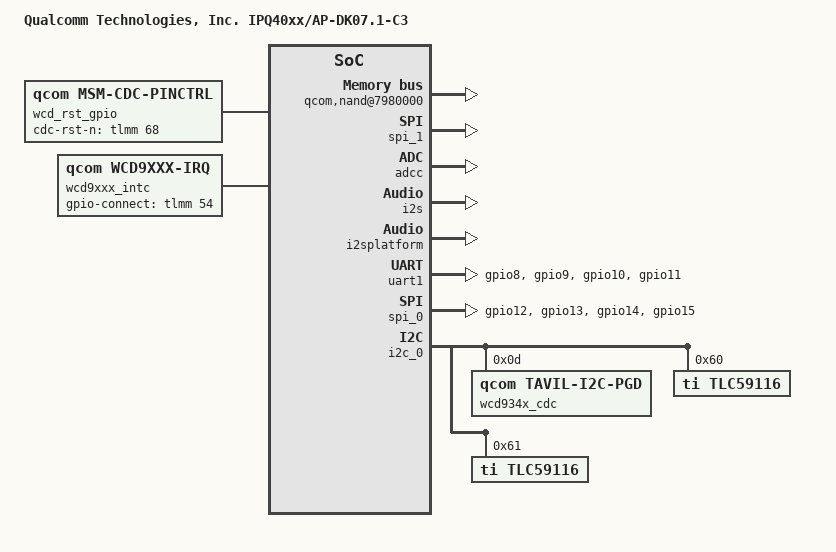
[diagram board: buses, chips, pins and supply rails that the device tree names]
/* Copyright (c) 2016-2017, The Linux Foundation. All rights reserved.
 *
 * Permission to use, copy, modify, and/or distribute this software for any
 * purpose with or without fee is hereby granted, provided that the above
 * copyright notice and this permission notice appear in all copies.
 *
 * THE SOFTWARE IS PROVIDED "AS IS" AND THE AUTHOR DISCLAIMS ALL WARRANTIES
 * WITH REGARD TO THIS SOFTWARE INCLUDING ALL IMPLIED WARRANTIES OF
 * MERCHANTABILITY AND FITNESS. IN NO EVENT SHALL THE AUTHOR BE LIABLE FOR
 * ANY SPECIAL, DIRECT, INDIRECT, OR CONSEQUENTIAL DAMAGES OR ANY DAMAGES
 * WHATSOEVER RESULTING FROM LOSS OF USE, DATA OR PROFITS, WHETHER IN AN
 * ACTION OF CONTRACT, NEGLIGENCE OR OTHER TORTIOUS ACTION, ARISING OUT OF
 * OR IN CONNECTION WITH THE USE OR PERFORMANCE OF THIS SOFTWARE.
 *
 */

#include "qcom-ipq40xx-ap.dk07.1.dtsi"
#include "qcom-ipq40xx-lcdc.dtsi"
#include "qcom-ipq40xx-lcdpanel.dtsi"
#include "qcom-ipq40xx-audio.dtsi"

/ {
	model = "Qualcomm Technologies, Inc. IPQ40xx/AP-DK07.1-C3";

	soc {
		qcom,nand@7980000 {
			status = "ok";
		};

		qcom,msm_qpic@7980000 {
			status = "ok";
		};

		qcom,mdss_lcd_qpic_panel {
			status = "ok";
		};

		serial@78b0000 {
			status = "disabled";
		};

		spi_1: spi@78b6000 { /* BLSP1 QUP2 */
			status = "ok";
		};

		pinctrl@0x01000000 {
			audio_gpio_pins: audio_gpio_pinmux {
				mux_1 {
					pins = "gpio25", "gpio26";
					function = "gpio";
					output-high;
				};
				mux_2 {
					pins = "gpio27";
					function = "gpio";
					output-high;
				};
			};
			audio_pins: audio_pinmux {
				mux_1 {
					pins = "gpio25", "gpio26";
					function = "audio0";
				};
				mux_2 {
					pins = "gpio27";
					function = "audio_td1";
				};
			};
			uart1_pins: uart1_pinmux {
				mux {
					pins = "gpio8", "gpio9", "gpio10", "gpio11";
					function = "blsp_uart1";
					bias-disable;
				};
			};

			spi_0_pins: spi_0_pinmux {
				mux {
					pins = "gpio12", "gpio13", "gpio14", "gpio15";
					function = "blsp_spi0";
					bias-disable;
				};
			};

			wifi_0_pins: wifi1_pinmux {
				mux_1 {
					pins = "gpio37";
					function="wcss0_dbg16";
					bias-pull-down;
					drive-cap = <DRV_CAP_QUARTER>;
				};
				mux_2 {
					pins = "gpio43";
					function="wifi_wci1";
					bias-pull-down;
					drive-cap = <DRV_CAP_QUARTER>;
				};
				mux_3 {
					pins = "gpio52";
					output-high;
					function="gpio";
					bias-pull-up;
					drive-cap = <DRV_CAP_QUARTER>;
				};
				mux_4 {
					pins = "gpio61";
					output-high;
					function="gpio";
					bias-pull-down;
				};
			};
			cdc_reset_sleep: cdc_reset_sleep {
				mux {
					pins = "gpio68";
					function = "gpio";
				};
				config {
					pins = "gpio68";
					drive-strength = <16>;
					bias-disable;
					output-low;
				};
			};
			cdc_reset_active: cdc_reset_active {
				mux {
					pins = "gpio68";
					function = "gpio";
				};
				config {
					pins = "gpio68";
					drive_strength = <16>;
					bias-pull-down;
					output-high;
				};
			};
			wcd_intr_default: wcd_intr_default{
				mux {
					pins = "gpio54";
					function = "gpio";
				};
				config {
					pins = "gpio54";
					drive-strength = <2>; /* 2 mA */
					bias-pull-down; /* pull down */
					input-enable;
				};
			};
			wcd_clk_pins: wcd_clk_pinmux {
				mux_1 {
					pins = "gpio24";
					function = "audio0";
				};
			};
		};

		adcc: clock-controller@7700038 {
			status = "ok";
		};

		/* Enable Audio Interfaces */
		i2s: ipq40xx-pcm-i2s@0 {
			ipq,txmclk-fixed = <1>;
			status = "ok";
		};

		i2splatform: qca-pcm-i2s@7709000 {
			status = "ok";
		};

		snd_934x: sound-tavil {
			status = "ok";
			ipq,i2s-no-of-periods = <10>;
			pinctrl-0 = <&audio_gpio_pins>;
			pinctrl-1 = <&audio_pins>;
			pinctrl-names = "default", "audio";
		};

		uart1:uart@78b0000 {
			pinctrl-0 = <&uart1_pins>;
			pinctrl-1 = <&uart1_pins>;
			pinctrl-names = "default", "sleep";
			status = "ok";
		};

		spi_0: spi@78b5000 { /* BLSP1 QUP1 */
			pinctrl-0 = <&spi_0_pins>;
			pinctrl-names = "default";
			status = "ok";
		};


		wifi0: wifi@a000000 {
			pinctrl-0 = <&wifi_0_pins>;
			pinctrl-names = "default";
			btcoex_support = <1>;
			wlan_prio_gpio = <52>;
			dual_band_switch_gpio = <61>;
		};

		wifi1: wifi@a800000 {
			btcoex_support = <0>;
		};

		glink_spi_xprt_wdsp: qcom,glink-spi-xprt-wdsp {
			compatible = "qcom,glink-spi-xprt";
			label = "wdsp";
			qcom,remote-fifo-config = <&glink_fifo_wdsp>;
			qcom,qos-config = <&glink_qos_wdsp>;
			qcom,ramp-time = <0x10>,
					<0x20>,
					<0x30>,
					<0x40>;
		};

		glink_fifo_wdsp: qcom,glink-fifo-config-wdsp {
			compatible = "qcom,glink-fifo-config";
			qcom,out-read-idx-reg = <0x12000>;
			qcom,out-write-idx-reg = <0x12004>;
			qcom,in-read-idx-reg = <0x1200C>;
			qcom,in-write-idx-reg = <0x12010>;
		};

		glink_qos_wdsp: qcom,glink-qos-config-wdsp {
			compatible = "qcom,glink-qos-config";
			qcom,flow-info = <0x80 0x0>,
					<0x70 0x1>,
					<0x60 0x2>,
					<0x50 0x3>;
			qcom,mtu-size = <0x800>;
			qcom,tput-stats-cycle = <0xa>;
		};

		qcom,wcd-dsp-mgr {
			compatible = "qcom,wcd-dsp-mgr";
			qcom,wdsp-components = <&wcd934x_cdc 0>,
						<&wcd_spi_0 1>,
						<&glink_spi_xprt_wdsp 2>;
			qcom,img-filename = "cpe_9340";
		};
		qocm,wcd-dsp-glink {
			compatible = "qcom,wcd-dsp-glink";
		};
		wcd_rst_gpio: msm_cdc_pinctrl@56 {
			compatible = "qcom,msm-cdc-pinctrl";
			qcom,cdc-rst-n-gpio = <&tlmm 68 0>;
			pinctrl-names = "aud_active", "aud_sleep";
			pinctrl-0 = <&cdc_reset_active>;
			pinctrl-1 = <&cdc_reset_sleep>;
		};

		wcd9xxx_intc: wcd9xxx-irq {
			status = "ok";
			compatible = "qcom,wcd9xxx-irq";
			interrupt-controller;
			#interrupt-cells = <1>;
			interrupt-parent = <&tlmm>;
			qcom,gpio-connect = <&tlmm 54 0>;
			pinctrl-names = "default";
			pinctrl-0 = <&wcd_intr_default>;
		};

		i2c_0: i2c@78b7000 { /* BLSP1 QUP2 */
			status = "ok";
			qcom,clk-freq-out = <400000>;
			wcd934x_cdc: tavil_codec@d {
				#address-cells = <1>;
				#size-cells = <0>;
				compatible = "qcom,tavil-i2c-pgd";
				reg = <0x0d>;
				status = "ok";
				qcom,wcd-rst-gpio-node = <&wcd_rst_gpio>;
				interrupt-parent = <&wcd9xxx_intc>;
				interrupts = <0 1 2 3 4 5 6 7 8 9 10 11 12 13 14 15 16
						17 18 19 20 21 22 23 24 25 26 27 28 29
						30>;

				clocks = <&adcc ADCC_TXM_CLK_SRC>;
				clock-names = "audio_tx_mclk";
				pinctrl-0 = <&wcd_clk_pins>;
				pinctrl-names = "default";

				qcom,cdc-micbias1-mv = <1800>;
				qcom,cdc-micbias2-mv = <1800>;
				qcom,cdc-micbias3-mv = <1800>;
				qcom,cdc-micbias4-mv = <1800>;

				qcom,cdc-mclk-clk-rate = <9600000>;
				qcom,cdc-dmic-sample-rate = <4800000>;
				qcom,cdc-mad-dmic-rate = <600001>;
				qcom,cdc-ecpp-dmic-rate = <1200000>;

				qcom,wdsp-cmpnt-dev-name = "tavil_codec";

				wcd: wcd_pinctrl@5 {
					compatible = "qcom,wcd-pinctrl";
					qcom,num-gpios = <5>;
					gpio-controller;
					#gpio-cells = <2>;

					spkr_1_wcd_en_active: spkr_1_wcd_en_active {
						mux {
							pins = "gpio2";
						};

						config {
							pins = "gpio2";
							output-high;
						};
					};

					spkr_1_wcd_en_sleep: spkr_1_wcd_en_sleep {
						mux {
							pins = "gpio2";
						};

						config {
							pins = "gpio2";
							input-enable;
						};
					};

					spkr_2_wcd_en_active: spkr_2_sd_n_active {
						mux {
							pins = "gpio3";
						};

						config {
							pins = "gpio3";
							output-high;
						};
					};

					spkr_2_wcd_en_sleep: spkr_2_sd_n_sleep {
						mux {
							pins = "gpio3";
						};

						config {
							pins = "gpio3";
							input-enable;
						};
					};
				};

				wsa_spkr_wcd_sd1: msm_cdc_pinctrll {
					compatible = "qcom,msm-cdc-pinctrl";
					pinctrl-names = "aud_active", "aud_sleep";
					pinctrl-0 = <&spkr_1_wcd_en_active>;
					pinctrl-1 = <&spkr_1_wcd_en_sleep>;
				};

				wsa_spkr_wcd_sd2: msm_cdc_pinctrlr {
					compatible = "qcom,msm-cdc-pinctrl";
					pinctrl-names = "aud_active", "aud_sleep";
					pinctrl-0 = <&spkr_2_wcd_en_active>;
					pinctrl-1 = <&spkr_2_wcd_en_sleep>;
				};

				swr_master {
					compatible = "qcom,swr-wcd";
					#address-cells = <2>;
					#size-cells = <0>;

					wsa881x_0211: wsa881x@20170211 {
						compatible = "qcom,wsa881x";
						reg = <0x00 0x20170211>;
						qcom,spkr-sd-n-node = <&wsa_spkr_wcd_sd1>;
					};

					wsa881x_0212: wsa881x@20170212 {
						compatible = "qcom,wsa881x";
						reg = <0x00 0x20170212>;
						qcom,spkr-sd-n-node = <&wsa_spkr_wcd_sd2>;
					};

					wsa881x_0213: wsa881x@21170213 {
						compatible = "qcom,wsa881x";
						reg = <0x00 0x21170213>;
						qcom,spkr-sd-n-node = <&wsa_spkr_wcd_sd1>;
					};

					wsa881x_0214: wsa881x@21170214 {
						compatible = "qcom,wsa881x";
						reg = <0x00 0x21170214>;
						qcom,spkr-sd-n-node = <&wsa_spkr_wcd_sd2>;
					};
				};

				wcd_spi_0: wcd_spi {
					compatible = "qcom,wcd-spi-v2";
					qcom,master-bus-num = <0>;
					qcom,chip-select = <0>;
					qcom,max-frequency = <15000000>;
					qcom,mem-base-addr = <0x100000>;
				};
			};

			/* IPQ4019 1.1 Audio Board Configuration */
			tlc59116@60 {
				#address-cells = <1>;
				#size-cells = <0>;
				compatible = "ti,tlc59116";
				reg = <0x60>;
				out0@0 {
					label = "ledsec1_g";
					reg = <0x0>;
				};
				out1@1 {
					label = "ledsec1_r";
					reg = <0x1>;
				};
				out2@2 {
					label = "ledsec1_b";
					reg = <0x2>;
				};
				out3@3 {
					label = "ledsec2_g";
					reg = <0x3>;
				};
				out4@4 {
					label = "ledsec2_r";
					reg = <0x4>;
				};
				out5@5 {
					label = "ledsec2_b";
					reg = <0x5>;
				};
				out6@6 {
					label = "ledsec3_g";
					reg = <0x6>;
				};
				out7@7 {
					label = "ledsec3_r";
					reg = <0x7>;
				};
				out8@8 {
					label = "ledsec3_b";
					reg = <0x8>;
				};
				out9@9 {
					label = "ledsec4_g";
					reg = <0x9>;
				};
				out10@10 {
					label = "ledsec4_r";
					reg = <0xA>;
				};
				out11@11 {
					label = "ledsec4_b";
					reg = <0xB>;
				};
				out12@12 {
					label = "ledsec5_g";
					reg = <0xC>;
				};
				out13@13 {
					label = "ledsec5_r";
					reg = <0xD>;
				};
				out14@14 {
					label = "ledsec5_b";
					reg = <0xE>;
				};
			};

			tlc59116@61 {
				#address-cells = <1>;
				#size-cells = <0>;
				compatible = "ti,tlc59116";
				reg = <0x61>;
				out0@0 {
					label = "ledsec6_g";
					reg = <0x0>;
				};
				out1@1 {
					label = "ledsec6_r";
					reg = <0x1>;
				};
				out2@2 {
					label = "ledsec6_b";
					reg = <0x2>;
				};
				out3@3 {
					label = "ledsec7_g";
					reg = <0x3>;
				};
				out4@4 {
					label = "ledsec7_r";
					reg = <0x4>;
				};
				out5@5 {
					label = "ledsec7_b";
					reg = <0x5>;
				};
				out6@6 {
					label = "ledsec8_g";
					reg = <0x6>;
				};
				out7@7 {
					label = "ledsec8_r";
					reg = <0x7>;
				};
				out8@8 {
					label = "ledsec8_b";
					reg = <0x8>;
				};
				out9@9 {
					label = "ledsec9_g";
					reg = <0x9>;
				};
				out10@10 {
					label = "ledsec9_r";
					reg = <0xA>;
				};
				out11@11 {
					label = "ledsec9_b";
					reg = <0xB>;
				};
			};
		};

		dummy_regulator: regulator@1 {
			compatible = "reg-dummy";
		};

		sdhci@7824000 {
			status = "disabled";
		};

		edma@c080000 {
			qcom,num-cores = <3>;
		};
	};
};
